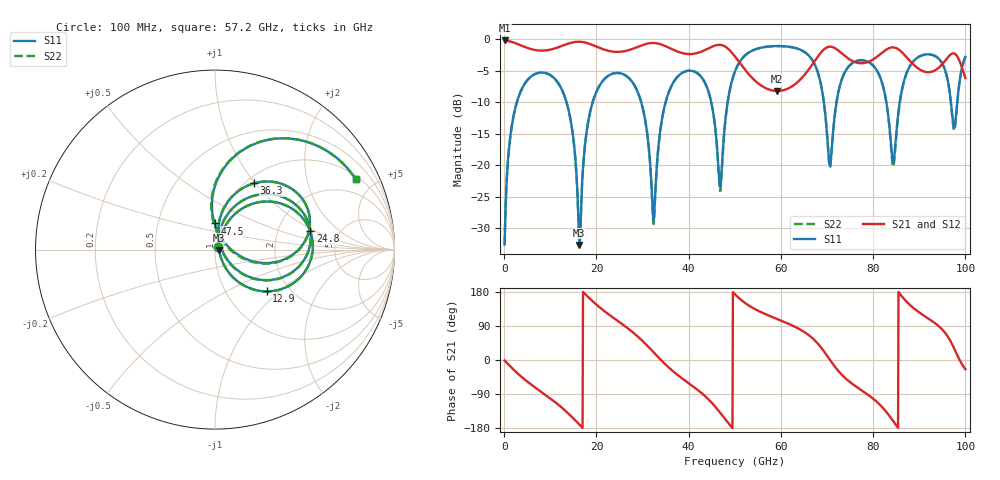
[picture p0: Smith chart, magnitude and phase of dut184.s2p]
! Touchstone file exported from HFSS 2026.1.0
!  File:  C:/ffzhzh/LocalFiles/Ansys_Project_Files/temp_train_TSV_RDL_184_1783653652_29156.aedt
!  Generated:  11:31:19 AM Jul 10, 2026
!  Design:  TSV_RDL
!  Project:  temp_train_TSV_RDL_184_1783653652_29156
! Variables:
!  h_bsmrdl = 2.35um
!  h_ox = 20um
!  h_rdl = 5um
!  h_sub = 93.03um
!  h_tmrdl = 4.04um
!  h_tsv = 93.03um
!  h_via = 3um
!  l_bsmrdl = 483.3um
!  l_sub = 3266.05um
!  l_tmrdl = 324.06um
!  m_sub = 200um
!  pitch = 53.94um
!  r_tsv = 8.55um
!  s_tmrdl = 10um
!  w_bsmrdl = 28.61um
!  w_sub = 500um
!  w_tmrdl = 11.36um
!  x_tsv_center1 = 329.74um
!  x_tsv_center2 = 841.65um
!  x_tsv_center3 = 1177.07um
!  x_tsv_center4 = 1688.98um
!  x_tsv_center5 = 2024.4um
!  x_tsv_center6 = 2536.31um
# GHz S MA R 50.000000
! Terminal data exported
! Port[1] = TM_RDL1_1_T1
! Port[2] = TM_RDL5_1_T1
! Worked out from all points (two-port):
!   1000 points, 100 MHz to 100 GHz, reference 50 ohm
!   highest |S21| = -0.17 dB at 100 MHz (marker M1); lowest = -8.2 dB at 59.2 GHz (marker M2)
!   |S21| within 3 dB of the highest: start of sweep to 50.52 GHz; 80.03 GHz to 87.67 GHz (7.639 GHz wide, 9.11 % of centre) (the widest 2 of 4)
!   lowest |S11| = -32.6 dB at 16.3 GHz (marker M3), VSWR 1.05, Z = 52.4 - j0.225 ohm
!   |S11| at or under -10 dB: 13.53 GHz to 19.18 GHz (5.646 GHz wide, 34.5 % of centre); 29.73 GHz to 34.99 GHz (5.266 GHz wide, 16.3 % of centre); 44.91 GHz to 48.45 GHz (3.534 GHz wide, 7.57 % of centre) (the widest 3 of 7)
!   |S22| runs from -32.8 to -1.1 dB; largest |S21 - S12| = 1.3e-12
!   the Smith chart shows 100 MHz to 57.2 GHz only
!   S11 on the Smith chart (normalised r, x): 100 MHz: 1.04, +0.03; 12.9 GHz: 1.54, -0.83; 24.8 GHz: 3.08, +0.89; 36.3 GHz: 1.09, +0.99; 47.5 GHz: 0.95, +0.28; 57.2 GHz: 1.16, +3.92
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0.1  0.0236 34.3  0.9807 -1.3  0.9807 -1.3  0.0236 34.3
! Gamma 0 0 0 0
! Port Impedance 50 0 50 0
3.7  0.3948 42.8  0.8942 -43.7  0.8942 -43.7  0.3948 42.8
12.9  0.3701 -38.9  0.8985 -129.9  0.8985 -129.9  0.3702 -39.0
16.3  0.02333 -5.3  0.9579 -170.3  0.9579 -170.3  0.02286 -5.9
16.8  0.0606 70.1  0.955 -176.5  0.955 -176.5  0.06034 70.4
19.2  0.3183 60.2  0.9015 154.9  0.9015 154.9  0.3182 60.2
24.8  0.5412 10.9  0.7959 101.6  0.7959 101.6  0.5413 10.7
32.3  0.03848 0.7  0.9366 21.7  0.9366 21.7  0.03674 -0.8
33.4  0.1353 81.3  0.9262 7.6  0.9262 7.6  0.1346 82.0
36.3  0.4291 59.4  0.8395 -26.4  0.8395 -26.4  0.4288 59.5
47.5  0.1459 90.8  0.8929 -149.7  0.8929 -149.7  0.1434 92.3
50.1  0.564 75.4  0.7276 172.7  0.7276 172.7  0.5631 75.7
57.2  0.8768 26.5  0.4029 118.1  0.4029 118.1  0.8765 26.5
59.2  0.8853 17.3  0.3896 108.0  0.3896 108.0  0.8851 17.3
66.7  0.6953 -25.8  0.624 59.0  0.624 59.0  0.6952 -26.0
71.2  0.1641 45.1  0.8689 -9.4  0.8689 -9.4  0.1621 45.7
76.5  0.6759 16.7  0.6529 -71.8  0.6529 -71.8  0.6755 16.5
83.4  0.2268 -30.3  0.8507 -145.4  0.8507 -145.4  0.2237 -32.2
88  0.6165 48.0  0.6735 145.0  0.6735 145.0  0.6152 48.5
95.4  0.5973 -6.0  0.6633 74.7  0.6633 74.7  0.596 -6.3
97.6  0.1982 27.1  0.7724 29.5  0.7724 29.5  0.1897 27.2
100  0.7265 50.9  0.4931 -24.3  0.4931 -24.3  0.7246 51.6
